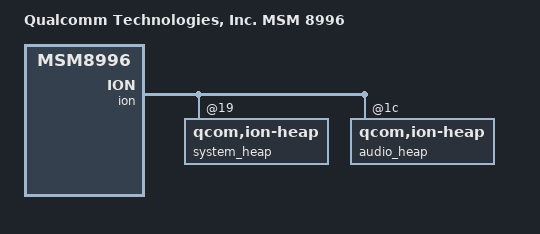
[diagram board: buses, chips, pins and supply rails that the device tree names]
/* Copyright (c) 2017-2018, The Linux Foundation. All rights reserved.
 *
 * This program is free software; you can redistribute it and/or modify
 * it under the terms of the GNU General Public License version 2 and
 * only version 2 as published by the Free Software Foundation.
 *
 * This program is distributed in the hope that it will be useful,
 * but WITHOUT ANY WARRANTY; without even the implied warranty of
 * MERCHANTABILITY or FITNESS FOR A PARTICULAR PURPOSE.  See the
 * GNU General Public License for more details.
 */

/dts-v1/;

#include "vplatform-lfv-msm8996-ivi-common.dtsi"

/ {
	model = "Qualcomm Technologies, Inc. MSM 8996";
	compatible = "qcom,msm8996";
	qcom,msm-id = <246 0x0>;
};

&ion {
	/delete-node/ qcom,ion-heap@25;

	system_heap: qcom,ion-heap@25 {
		reg = <25>;
		qcom,ion-heap-type = "SYSTEM";
	};

	audio_heap: qcom,ion-heap@28 {
		reg = <28>;
		memory-region = <&ion_audio>;
		qcom,ion-heap-type = "CARVEOUT";
	};
};

&reserved_memory {
		pmem_shared: pmem_shared_region@1154ca000 {
			reg = <0x1 0x154ca000 0x0 0x154ca000>;
			label = "pmem_shared_mem";
		};

		ion_audio: ion_audio_region {
			reg = <0 0xf0000000 0 0x00400000>;
			label = "ion_audio_mem";
		};
};
